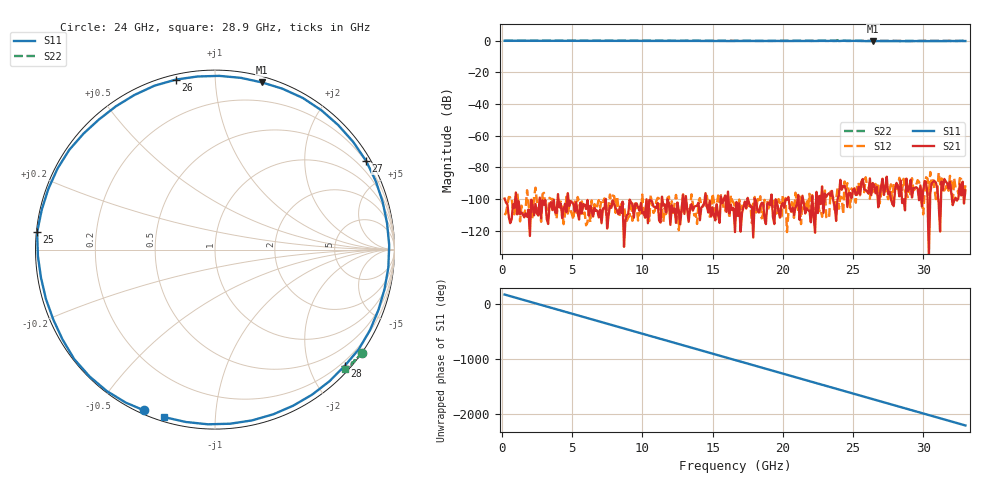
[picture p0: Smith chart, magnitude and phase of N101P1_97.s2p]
# GHZ S RI R 50
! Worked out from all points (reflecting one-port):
!   329 points, 200 MHz to 33 GHz, reference 50 ohm
!   lowest |S11| = -0.3 dB at 26.4 GHz (marker M1), VSWR 60.61, Z = 2.26 + j66 ohm
!   phase of S11 starts at 165 deg and turns -2368 deg over the sweep
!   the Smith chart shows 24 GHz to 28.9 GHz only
!   S11 on the Smith chart (normalised r, x): 24 GHz: 0.02, -0.65; 25 GHz: 0.00, +0.05; 26 GHz: 0.02, +0.80; 27 GHz: 0.17, +3.67; 28 GHz: 0.12, -2.61; 28.9 GHz: 0.02, -0.74
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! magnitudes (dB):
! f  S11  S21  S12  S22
! 200 MHz  0.0  -99.7  -110.2  0.0
! 5.7 GHz  -0.1  -109.1  -101.5  0.0
! 11.2 GHz  -0.2  -113.6  -99.8  0.0
! 16.6 GHz  -0.2  -120.9  -105.0  -0.1
! 22.1 GHz  -0.2  -98.2  -97.5  -0.1
! 22.7 GHz  -0.1  -103.2  -106.6  0.1
! 23 GHz  -0.2  -96.6  -94.7  0.0
! 23.4 GHz  0.0  -98.0  -95.3  0.1
! 23.6 GHz  -0.2  -101.1  -99.1  0.0
! 23.9 GHz  -0.1  -100.0  -92.8  0.2
! 24 GHz  -0.2  -97.6  -106.2  0.0
! 24.8 GHz  -0.2  -96.2  -105.4  0.0
! 25 GHz  0.0  -94.3  -95.2  0.0
! 26 GHz  -0.2  -95.3  -91.3  -0.1
! 26.4 GHz  -0.3  -89.9  -95.7  0.0
! 27 GHz  -0.2  -91.9  -97.1  -0.1
! 27.6 GHz  -0.3  -95.2  -94.9  -0.1
! 28 GHz  -0.3  -93.7  -91.0  -0.1
! 28.9 GHz  -0.2  -95.2  -98.8  -0.1
! 30.3 GHz  -0.2  -97.4  -87.0  0.0
! 32.6 GHz  -0.2  -90.6  -86.8  -0.1
! 33 GHz  -0.2  -94.5  -91.3  0.0
